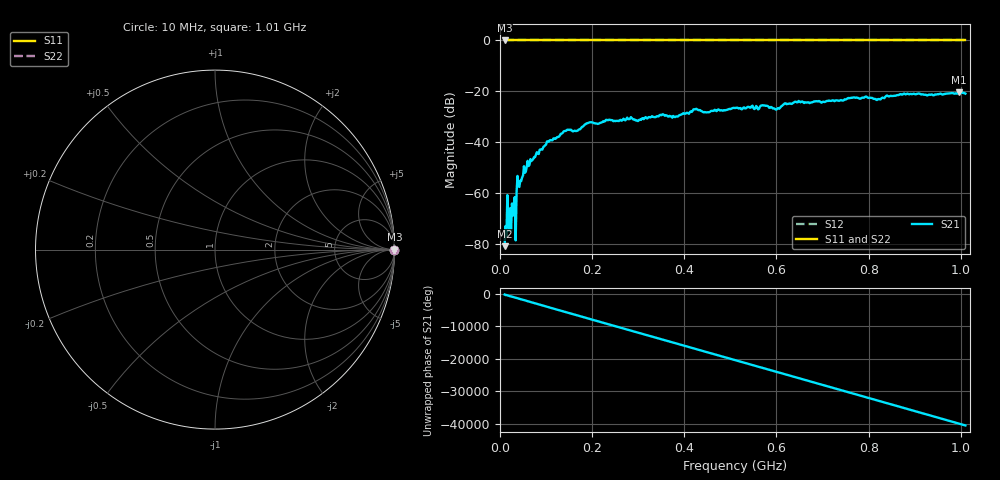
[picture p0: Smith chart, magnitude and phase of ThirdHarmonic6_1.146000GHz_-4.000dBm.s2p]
! 8/16/2025 11:18:58 AM
! C:\ANRITSUVNA\TEMP\TEMP.S2P
! CHANNEL.1
! TR.MEASUREMENT
! RAW.DATA
! RF.CORRECTION.OFF
! AVERAGING.OFF
! IF.BANDWIDTH: 5KHZ
! SWEEPTYPE:  FREQ.SWEEP(Linear)
! Reference Plane Port Info
! PORT:  PORT1  PORT2
! DISTANCE:  0  m  0  m
! TIME:  0  s  0  s
! PHASE.OFFSET:  0  deg.  0  deg.
! LOSS:  0  dB  0  dB
! REF.LOSS:  0  dB  0  dB
! REF.FREQ:  0  Hz  0  Hz
! Power Info
! POWER:  -20  dBm  -20  dBm
! EFF.POWER:  -20  dBm  -20  dBm
! SOURCE.ATTEN:  0  dB  0  dB
! TEST.ATTEN:  0  dB  0  dB
# GHZ S RI R 50.0
! FREQ.GHZ  S11RE  S11IM  S21RE  S21IM  S12RE  S12IM  S22RE  S22IM
!; PortSelection: Port_12
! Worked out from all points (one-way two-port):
!   501 points, 10 MHz to 1.01 GHz, reference 50 ohm
!   highest |S21| = -20.42 dB at 996 MHz (marker M1); lowest = -80.9 dB at 10 MHz (marker M2)
!   lowest |S11| = 0.0 dB at 10 MHz (marker M3)
!   |S11| at or under -10 dB: nowhere
!   |S22| runs from 0.0 to 0.0 dB; largest |S21 - S12| = 1.1
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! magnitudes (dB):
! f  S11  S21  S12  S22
! 10 MHz  0.0  -80.9  0.0  0.0
! 14 MHz  0.0  -76.8  0.0  0.0
! 18 MHz  0.0  -69.4  0.0  0.0
! 24 MHz  0.0  -75.0  0.0  0.0
! 28 MHz  0.0  -68.9  0.0  0.0
! 32 MHz  0.0  -61.6  0.0  0.0
! 34 MHz  0.0  -78.6  0.0  0.0
! 38 MHz  0.0  -53.3  0.0  0.0
! 40 MHz  0.0  -57.3  0.0  0.0
! 62 MHz  0.0  -49.4  0.0  0.0
! 106 MHz  0.0  -39.8  0.0  0.0
! 142 MHz  0.0  -35.6  0.0  0.0
! 178 MHz  0.0  -34.0  0.0  0.0
! 196 MHz  0.0  -32.2  0.0  0.0
! 344 MHz  0.0  -29.9  0.0  0.0
! 510 MHz  0.0  -26.6  0.0  0.0
! 602 MHz  0.0  -26.7  0.0  0.0
! 620 MHz  0.0  -24.7  0.0  0.0
! 678 MHz  0.0  -24.3  0.0  0.0
! 844 MHz  0.0  -22.0  0.0  0.0
! 996 MHz  0.0  -20.4  0.0  0.0
! 1.01 GHz  0.0  -20.9  0.0  0.0
